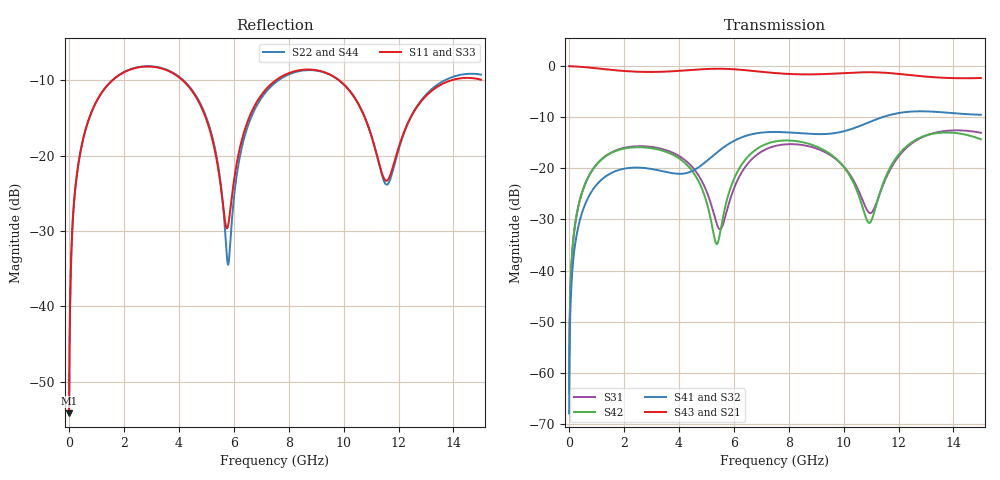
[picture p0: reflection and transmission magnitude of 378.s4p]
! Created with skrf 1.8.0 (http://scikit-rf.org).
# GHz S RI R 50.0
!freq ReS11 ImS11 ReS12 ImS12 ReS13 ImS13
! ReS14 ImS14
! ReS21 ImS21 ReS22 ImS22 ReS23 ImS23
! ReS24 ImS24
! ReS31 ImS31 ReS32 ImS32 ReS33 ImS33
! ReS34 ImS34
! ReS41 ImS41 ReS42 ImS42 ReS43 ImS43
! ReS44 ImS44
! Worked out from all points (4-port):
!   2499 points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, 5 MHz to 15 GHz, reference 50 ohm
!   strongest paths, dB at 5 MHz, 3.476 GHz, 7.19 GHz, 11.1 GHz, 15 GHz:
!     S43: 0.0, -1.1, -1.2, -1.2, -2.3
!     S21: 0.0, -1.1, -1.2, -1.2, -2.3
!     S41: -67.9, -20.6, -12.9, -10.6, -9.5
!     S32: -67.9, -20.7, -13.0, -10.6, -9.6
!     S42: -63.9, -16.7, -15.2, -28.9, -14.3
!     S31: -63.9, -16.3, -16.2, -28.0, -13.1
!   lowest |S11| = -54.2 dB at 5 MHz (marker M1), VSWR 1.00, Z = 50.2 + j0.118 ohm
!   |S11| at or under -10 dB: start of sweep to 1.585 GHz; 4.137 GHz to 7.534 GHz (3.398 GHz wide, 58.2 % of centre); 9.832 GHz to 13.93 GHz (4.102 GHz wide, 34.5 % of centre)
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0.005  0.00155 0.00118  0.9984 -0.00303  7.84e-05 0.000633  -7.6e-05 -0.000394
       0.9984 -0.00303  0.00155 0.00118  -7.6e-05 -0.000394  7.83e-05 0.000633
       7.84e-05 0.000633  -7.6e-05 -0.000394  0.00155 0.00118  0.9984 -0.00303
       -7.6e-05 -0.000394  7.83e-05 0.000633  0.9984 -0.00303  0.00155 0.00118
0.3126303  0.0219 0.0779  0.97 -0.1886  0.0104 0.0377  -0.0085 -0.0233
           0.97 -0.1886  0.022 0.0779  -0.00849 -0.0233  0.01 0.0378
           0.0104 0.0377  -0.00849 -0.0233  0.0219 0.0779  0.97 -0.1886
           -0.0085 -0.0233  0.01 0.0378  0.97 -0.1886  0.022 0.0779
1.519383  0.2461 0.1856  0.5971 -0.6997  0.1252 0.0667  -0.0883 -0.0139
          0.5971 -0.6997  0.2479 0.1845  -0.0881 -0.0141  0.1201 0.0728
          0.1252 0.0667  -0.0881 -0.0141  0.2461 0.1855  0.5971 -0.6997
          -0.0883 -0.0139  0.1201 0.0728  0.5971 -0.6997  0.2478 0.1845
5.621092  0.0345 -0.0291  -0.9292 -0.1494  -0.0231 0.0174  -0.0199 0.1585
          -0.9292 -0.1494  0.0212 -0.0391  -0.023 0.158  0.0213 0.0272
          -0.0231 0.0174  -0.023 0.158  0.0328 -0.0273  -0.9294 -0.1491
          -0.0199 0.1585  0.0213 0.0272  -0.9294 -0.1491  0.022 -0.037
9.035015  0.3645 -0.0511  0.0321 0.8314  0.1284 -0.0876  0.2035 -0.0726
          0.0321 0.8314  0.3634 -0.0427  0.204 -0.066  0.1316 -0.0955
          0.1284 -0.0876  0.204 -0.066  0.3667 -0.0501  0.0307 0.8311
          0.2035 -0.0726  0.1316 -0.0955  0.0307 0.8311  0.3635 -0.0423
11.71113  0.0722 0.0209  0.8506 0.066  0.0117 0.0982  0.008 -0.3338
          0.8506 0.066  0.0678 0.0201  0.0195 -0.333  0.0175 0.1019
          0.0117 0.0982  0.0195 -0.333  0.0732 0.0236  0.8504 0.0685
          0.008 -0.3338  0.0175 0.1019  0.8504 0.0685  0.0667 0.0201
15  0.3124 -0.0642  -0.00336 -0.7662  0.1541 -0.1603  -0.323 0.0869
    -0.00336 -0.7662  0.3364 -0.0753  -0.3229 0.0688  0.159 -0.1078
    0.1541 -0.1603  -0.3229 0.0688  0.3194 -0.0692  0.00246 -0.7652
    -0.323 0.0869  0.159 -0.1078  0.00246 -0.7652  0.3368 -0.067
